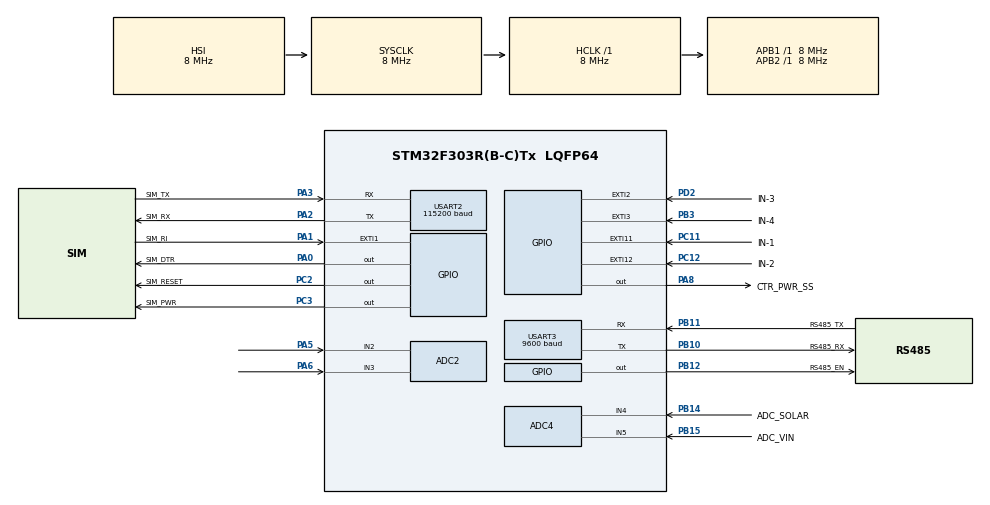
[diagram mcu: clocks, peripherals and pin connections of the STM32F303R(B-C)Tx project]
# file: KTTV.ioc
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Mcu.Family=STM32F3
PA6.Mode=IN3-Single-Ended
RCC.CortexFreq_Value=8000000
ADC2.SamplingTime-1\#ChannelRegularConversion=ADC_SAMPLETIME_601CYCLES_5
PB10.Mode=Asynchronous
ADC2.Channel-0\#ChannelRegularConversion=ADC_CHANNEL_2
PC12.Signal=GPXTI12
PB14.GPIO_Label=ADC_SOLAR
PA0.GPIO_Label=SIM_DTR
VP_RTC_VS_RTC_Activate.Mode=RTC_Enabled
ADC4.OffsetNumber-0\#ChannelRegularConversion=ADC_OFFSET_NONE
PB11.Signal=USART3_RX
PB15.Signal=ADC4_IN5
VP_RTC_VS_RTC_Alarm_A_Intern.Mode=Alarm A
ProjectManager.StackSize=0x400
RTC.Seconds_A-Alarm\ A=10
USART3.VirtualMode-Asynchronous=VM_ASYNC
ADC4.Channel-0\#ChannelRegularConversion=ADC_CHANNEL_4
NVIC.EXTI1_IRQn=true\:0\:0\:false\:false\:true\:true\:true
ADC2.SamplingTimeOPAMP-1\#ChannelRegularConversion=ADC_SAMPLETIME_4CYCLES_5
USART3.BaudRate=9600
ADC2.DMAContinuousRequests=ENABLE
ADC4.ContinuousConvMode=ENABLE
Dma.ADC2.0.Direction=DMA_PERIPH_TO_MEMORY
Dma.ADC2.0.MemInc=DMA_MINC_ENABLE
PC3.Signal=GPIO_Output
ADC4.Offset-1\#ChannelRegularConversion=0
ADC4.DMAContinuousRequests=ENABLE
PA1.GPIO_PuPd=GPIO_NOPULL
RCC.AHBFreq_Value=8000000
Dma.ADC2.0.Priority=DMA_PRIORITY_LOW
NVIC.DMA2_Channel2_IRQn=true\:0\:0\:false\:false\:true\:false\:true
RCC.HSE_VALUE=8000000
USART2.VirtualMode-Asynchronous=VM_ASYNC
RCC.RTCClockSelection=RCC_RTCCLKSOURCE_LSE
RCC.PLLMUL=RCC_PLL_MUL4
PB12.GPIO_Label=RS485_EN
PC14-OSC32_IN.Mode=LSE-External-Oscillator
PA14.Mode=Serial_Wire
ADC4.Rank-0\#ChannelRegularConversion=1
PB14.Mode=IN4-Single-Ended
PC11.GPIO_Label=IN-1
ADC4.SamplingTimeOPAMP-1\#ChannelRegularConversion=ADC_SAMPLETIME_7CYCLES_5
PA8.Signal=GPIO_Output
Dma.ADC4.1.PeriphInc=DMA_PINC_DISABLE
RTC.Hours_A-Alarm\ A=9
PA0.Signal=GPIO_Output
RTC.AlarmMaskDateWeekDay-Alarm\ A=RTC_ALARMMASK_DATEWEEKDAY
Mcu.Package=LQFP64
ADC2.Offset-0\#ChannelRegularConversion=0
PA6.Signal=ADC2_IN3
PA2.GPIO_Label=SIM_RX
ADC2.Channel-1\#ChannelRegularConversion=ADC_CHANNEL_3
VP_RTC_VS_RTC_Calendar.Mode=RTC_Calendar
ADC2.SamplingTime-0\#ChannelRegularConversion=ADC_SAMPLETIME_601CYCLES_5
Dma.ADC2.0.Mode=DMA_CIRCULAR
Dma.ADC2.0.PeriphDataAlignment=DMA_PDATAALIGN_HALFWORD
ADC2.NbrOfConversion=2
Dma.Request1=ADC4
ADC2.Rank-0\#ChannelRegularConversion=1
PF1-OSC_OUT.Mode=HSE-External-Oscillator
Dma.Request0=ADC2
Dma.ADC4.1.Mode=DMA_CIRCULAR
PA1.GPIO_ModeDefaultEXTI=GPIO_MODE_IT_FALLING
PC2.GPIO_Label=SIM_RESET
PF1-OSC_OUT.Signal=RCC_OSC_OUT
Dma.ADC4.1.MemInc=DMA_MINC_ENABLE
PA3.Signal=USART2_RX
PA5.Mode=IN2-Single-Ended
PB3.GPIO_Label=IN-4
PC15-OSC32_OUT.Mode=LSE-External-Oscillator
PC11.Signal=GPXTI11
PC2.Signal=GPIO_Output
PB11.GPIO_Label=RS485_TX
ADC4.SamplingTime-1\#ChannelRegularConversion=ADC_SAMPLETIME_601CYCLES_5
PC14-OSC32_IN.Signal=RCC_OSC32_IN
NVIC.USART2_IRQn=true\:0\:0\:false\:false\:true\:true\:true
USART2.BaudRate=115200
PA3.Mode=Asynchronous
PA13.Signal=SYS_JTMS-SWDIO
PA8.GPIO_Label=CTR_PWR_SS
PB11.Mode=Asynchronous
ADC2.ContinuousConvMode=ENABLE
ProjectManager.TargetToolchain=STM32CubeIDE
PB10.GPIO_Label=RS485_RX
RTC.Year=21
ADC4.Rank-1\#ChannelRegularConversion=2
Dma.ADC2.0.MemDataAlignment=DMA_MDATAALIGN_HALFWORD
Dma.ADC4.1.Instance=DMA2_Channel2
RTC.Format=RTC_FORMAT_BIN
RCC.USBFreq_Value=16000000
ADC4.Offset-0\#ChannelRegularConversion=0
PC15-OSC32_OUT.Signal=RCC_OSC32_OUT
PA1.Signal=GPXTI1
PF0-OSC_IN.Mode=HSE-External-Oscillator
ADC2.OffsetNumber-1\#ChannelRegularConversion=ADC_OFFSET_NONE
PB10.Signal=USART3_TX
PB14.Signal=ADC4_IN4
PA5.Signal=ADC2_IN2
ADC2.OffsetNumber-0\#ChannelRegularConversion=ADC_OFFSET_NONE
board=custom
Dma.ADC4.1.Priority=DMA_PRIORITY_LOW
PB15.Mode=IN5-Single-Ended
Dma.ADC2.0.PeriphInc=DMA_PINC_DISABLE
ADC2.Offset-1\#ChannelRegularConversion=0
RCC.APB2Freq_Value=8000000
ADC4.Channel-1\#ChannelRegularConversion=ADC_CHANNEL_5
ADC4.NbrOfConversionFlag=1
PB15.GPIO_Label=ADC_VIN
PA1.GPIO_Label=SIM_RI
PA13.Mode=Serial_Wire
NVIC.RTC_Alarm_IRQn=true\:0\:0\:false\:false\:true\:true\:true
Mcu.Name=STM32F303R(B-C)Tx
RTC.Alarm-Alarm\ A=RTC_ALARM_A
ADC4.SamplingTime-0\#ChannelRegularConversion=ADC_SAMPLETIME_601CYCLES_5
PA2.Signal=USART2_TX
ADC4.NbrOfConversion=2
Dma.ADC4.1.Direction=DMA_PERIPH_TO_MEMORY
PB3.Signal=GPXTI3
RCC.SYSCLKFreq_VALUE=8000000
RTC.Hours=9
ADC4.OffsetNumber-1\#ChannelRegularConversion=ADC_OFFSET_NONE
ADC2.NbrOfConversionFlag=1
PC12.GPIO_Label=IN-2
PA14.Signal=SYS_JTCK-SWCLK
NVIC.DMA2_Channel1_IRQn=true\:0\:0\:false\:false\:true\:false\:true
ProjectManager.HeapSize=0x200
RCC.HSI_VALUE=8000000
NVIC.PriorityGroup=NVIC_PRIORITYGROUP_4
Dma.ADC4.1.MemDataAlignment=DMA_MDATAALIGN_HALFWORD
Dma.ADC4.1.PeriphDataAlignment=DMA_PDATAALIGN_HALFWORD
ADC2.Rank-1\#ChannelRegularConversion=2
PA2.Mode=Asynchronous
PC3.GPIO_Label=SIM_PWR
PF0-OSC_IN.Signal=RCC_OSC_IN
PD2.Signal=GPXTI2
RCC.APB1Freq_Value=8000000
Dma.ADC2.0.Instance=DMA2_Channel1
RTC.Date=10
PD2.GPIO_Label=IN-3
PB12.Signal=GPIO_Output
PA3.GPIO_Label=SIM_TX

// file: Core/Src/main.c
/* USER CODE BEGIN Header */
/**
  ******************************************************************************
  * @file           : main.c
  * @brief          : Main program body
  ******************************************************************************
  * @attention
  *
  * <h2><center>&copy; Copyright (c) 2021 STMicroelectronics.
  * All rights reserved.</center></h2>
  *
  * This software component is licensed by ST under BSD 3-Clause license,
  * the "License"; You may not use this file except in compliance with the
  * License. You may obtain a copy of the License at:
  *                        opensource.org/licenses/BSD-3-Clause
  *
  ******************************************************************************
  */
/* USER CODE END Header */
#include "main.h"

/* USER CODE BEGIN Includes */
#include "HTTPClient_STM32.h"
#include "FLASH_STM32.h"
#include "RS485.h"
#include "stdbool.h"
/* USER CODE END Includes */

/* USER CODE BEGIN PD */

/* User define */
#define STATION 			30
#define PWRMODE				0
/*FLASH*/
#define MIN_PAGE_ADDR 		0x0800B7F0 //End of page 22
#define MAX_PAGE_ADDR 		0x0800EFF0 //End of page 30
#define MIN_DATA_ADDR		0x0800B000 //Page 22
#define RD_ADDR				0x0800F800 //Page 31
#define WR_ADDR				0x0800F810 //Page 31
#define PG_ADDR				0x0800F820 //Page 31
#define MODE_RTC_ADDR 		0x08010400 //Page 65
/* ADC */
#define VOLPOWER 3.30
#define NSAMPLE 50
//#define CALCULATE_VIN(x)			(VOLREF*x*97)/(4095*22) 		//Vin
#define CALCULATE_VIN(x)			(VOLPOWER*x*57)/(4095*10)		//Vsolar
/* USER CODE END PD */

ADC_HandleTypeDef hadc2;
ADC_HandleTypeDef hadc4;
DMA_HandleTypeDef hdma_adc2;
DMA_HandleTypeDef hdma_adc4;

RTC_HandleTypeDef hrtc;

UART_HandleTypeDef huart2;
UART_HandleTypeDef huart3;

/* USER CODE BEGIN PV */
/*=========SIM===========*/
extern uint8_t Sim_Rxbyte[1];
uint8_t Sim_RSSI = 0;
bool Sim_SleepMode = false;
volatile bool Sim_isRISignal = false;
/*=========SERVER===========*/
extern uint8_t HTTP_DataToGet[MAX_RECVBUF_LEN];
char HTTPServer_URL[500] = {0};
uint8_t configStatus = 0;
char URL1[30]      = "update.php";
char Host1[30]     = "kttvttb.tapit.vn";
char URL2[30]      = "update.php";
char Host2[30]     = "kttvttb.tapit.vn";
char HostConfig[30]     = "kttvttb.tapit.vn";
char URLConfig[30]      = "status.php";
/*=========RTC===========*/
RTC_TimeTypeDef currentTime = {0};
RTC_DateTypeDef currentDate = {0};
RTC_AlarmTypeDef userAlarm = {0};
volatile bool isRTCStartCounting = false;
volatile bool isOnTimeToSendReq = false;
uint8_t RTC_ALARM = 5;
char* Months[] = {"Jan","Feb","Mar","Apr","May","Jun","Jul","Aug","Sep","Oct","Nov","Dec"};
struct timestamp
{
	char timezone[50];
	uint8_t date;
	uint8_t mon;
	uint16_t year;
	uint8_t hour;
	uint8_t min;
	uint8_t sec;
} TimeStamp;

volatile uint16_t rtc_count = 0;
/*========FLASH==========*/
uint32_t WRITE_DATA_ADDR = MIN_DATA_ADDR;
uint32_t READ_DATA_ADDR = MIN_DATA_ADDR;
uint32_t PAGE_ADDR = MAX_PAGE_ADDR;
char Flash_DataToWrite[200] = {0};
char Flash_DataToRead[200] = {0};
char Flash_Host[50],Flash_URL[50],Flash_Data[200] = {0};
uint16_t Flash_WriteDataLen, Flash_ReadDataLen = 0;
bool Flash_isReadData = false;
/*=======SENSOR==========*/
char MainData[200] = {0};
float levelWater = 0;
char sensorStatus[6] = "OK";
volatile uint16_t rainRaw = 0;
float levelArray[6] = {0};
/*=========PWR===========*/
typedef enum
{
  OFF = 0u,
  ON
} Pwr_State;
/*=========ADC===========*/
uint16_t ADC_value[4] = {0};
float Voltage = 0;
uint8_t ADC_Count = 0;
uint16_t ADC_ArrayVal[NSAMPLE] = {0};
float ADC_Avr = 0;
float Sensor_Current = 0;
float Sensor_CalibCurrent = 0;
uint16_t Sensor_ADCval[4] = {0};
uint16_t Sensor_Value[10] = {0};
/* USER CODE END PV */

void SystemClock_Config(void);
static void MX_GPIO_Init(void);
static void MX_DMA_Init(void);
static void MX_USART2_UART_Init(void);
static void MX_USART3_UART_Init(void);
static void MX_RTC_Init(void);
static void MX_ADC2_Init(void);
static void MX_ADC4_Init(void);
/* USER CODE BEGIN PFP */
STATUS Sim_connectHTTP(char* host, char* url, char* sentdata, char* recvdata);
void Sim_extractTimeStamp(char* data);
void Sim_getHostnUrl(char* data);
void Sim_enterSLEEPMode(void);
void Sim_exitSLEEPMode(void);
void Sim_resetSIM(void);
void Sim_restartControl(void);
void Sim_sendMess(char* phonenumber, char* content);
bool RTC_initAlarm(uint8_t hours, uint8_t minutes, uint8_t seconds);
void RTC_updateUserTime(void);
void RTC_updateUserDate(RTC_DateTypeDef* datetime);
bool RTC_isLeapYear(uint16_t y);
void Flash_init(void);
void Flash_writeData(const char* host, const char* url, const char* data);
void Flash_extractData(char* data);
float RS485_readUltrasonicSensor(uint8_t Modbus_Addr);
float RS485_readLiquidLevelTransmitter(uint8_t Modbus_Addr);
void PWR_ctrlPwrSensor(Pwr_State status);
void PWR_getPwrSupply(uint8_t channel);
void insertionSort(uint16_t arr[], int n) ;
void insertionSort_2(float arr[], int n);
float Sensor_getADCValue(uint8_t channel);
float ADC_map(float x, float in_min, float in_max, float out_min, float out_max);
/* USER CODE END PFP */

/* USER CODE BEGIN 0 */
void HAL_GPIO_EXTI_Callback(uint16_t GPIO_Pin)
{
	for(uint32_t i = 0; i < 100000; i++);
	if(GPIO_Pin == SIM_RI_Pin)
	{
		Sim_isRISignal = true;
	}
	if(GPIO_Pin == IN_1_Pin)
	{
		rainRaw++;
		long j = 0;
		while((HAL_GPIO_ReadPin(IN_1_GPIO_Port,IN_1_Pin) == GPIO_PIN_SET) && (j < 1000000)){j++;};
	}
//	if(GPIO_Pin == IN_2_Pin)
//	{
//		while(HAL_GPIO_ReadPin(IN_2_GPIO_Port, IN_2_Pin) == GPIO_PIN_SET);
//		IN2_cnt++;
//	}
//	if(GPIO_Pin == IN_3_Pin)
//	{
//		while(HAL_GPIO_ReadPin(IN_3_GPIO_Port, IN_3_Pin) == GPIO_PIN_SET);
//		IN3_cnt++;
//	}
//	if(GPIO_Pin == IN_4_Pin)
//	{
//		while(HAL_GPIO_ReadPin(IN_4_GPIO_Port, IN_4_Pin) == GPIO_PIN_SET);
//		IN4_cnt++;
//	}
	for(uint32_t i = 0; i < 100000; i++);
	EXTI->PR |= GPIO_Pin;
}

void HAL_RTC_AlarmAEventCallback(RTC_HandleTypeDef *hrtc)
{
	isOnTimeToSendReq = true;
	//Thuc hien lay thoi gian hien tai cua RTC
	HAL_RTC_GetTime(hrtc, &currentTime, RTC_FORMAT_BIN);
	HAL_RTC_GetDate(hrtc, &currentDate, RTC_FORMAT_BIN);
	rtc_count++;
	if((userAlarm.AlarmTime.Hours == 0) && (userAlarm.AlarmTime.Minutes == 0))
	{
		isRTCStartCounting = true;
	}
	//Thuc hien cai dat thoi gian Alarm
	RTC_initAlarm(currentTime.Hours, currentTime.Minutes, 0);
	HAL_RTC_SetAlarm_IT(hrtc, &userAlarm, RTC_FORMAT_BIN);
}
/* USER CODE END 0 */

int main(void)
{

  /* MCU Configuration--------------------------------------------------------*/

  /* Reset of all peripherals, Initializes the Flash interface and the Systick. */
  HAL_Init();

  /* Configure the system clock */
  SystemClock_Config();

  /* Initialize all configured peripherals */
  MX_GPIO_Init();
  MX_DMA_Init();
  MX_USART2_UART_Init();
  MX_USART3_UART_Init();
  MX_RTC_Init();
  MX_ADC2_Init();
  MX_ADC4_Init();
  /* USER CODE BEGIN 2 */
	#if (PWRMODE == 1)
	PWR_ctrlPwrSensor(ON);
	#endif
	HAL_ADCEx_Calibration_Start(&hadc2, ADC_SINGLE_ENDED);
	HAL_ADCEx_Calibration_Start(&hadc4, ADC_SINGLE_ENDED);
  	HAL_Delay(1000);
  	Flash_init();
  	HAL_UART_Receive_IT(&SIM_UART, Sim_Rxbyte, 1);
    Sim_resetSIM();
    /* First Connection */
	char StationStart[25]  = {0};
	char StationConfig[25] = {0};
	sprintf(StationStart,"station=%d&status=%s",STATION,"START");
	sprintf(StationConfig,"station=%d&status=%s",STATION,"CONFIG");
	Sim_exitSLEEPMode();
	Sim_checkOK();
	HAL_Delay(3000);
    if(Sim_checkOK() == RET_OK)
    {
		Sim_RSSI = Sim_getSignalQuality();
		if(Sim_RSSI != 99) //99 <=> error
		{
			if(Sim_initSMS() == RET_OK)
			{
				if(HTTP_configParams() == RET_OK)
				{
					__NOP();
					Sim_connectHTTP(HostConfig, URLConfig, StationStart, (char*)HTTP_DataToGet);
				}
			}
		}
    }
    __NOP();
    Sim_enterSLEEPMode();
    Sim_isRISignal = false; //After reset, RISignal will raise
	#if (PWRMODE == 0)
	PWR_ctrlPwrSensor(OFF);
	#endif
  /* USER CODE END 2 */

  /* Infinite loop */
  /* USER CODE BEGIN WHILE */
  while (1)
  {
	  if(Sim_isRISignal == true)
	  {
		  Sim_restartControl();
		  Sim_isRISignal = false;
	  }

	  if(configStatus == 1)
	  {
		  Sim_connectHTTP(HostConfig, URLConfig, StationConfig, (char*)HTTP_DataToGet);
		  configStatus = 0;
	  }

	  if(isRTCStartCounting)
	  {
		  HAL_RTC_GetTime(&hrtc, &currentTime, RTC_FORMAT_BIN);
		  HAL_RTC_GetDate(&hrtc, &currentDate, RTC_FORMAT_BIN);
		  if((currentTime.Hours == 0)&&(currentTime.Minutes > 4))
		  {
			  NVIC_SystemReset();
		  }
	  }

	  if(isOnTimeToSendReq)
	  {
		  #if (PWRMODE == 0)
		  PWR_ctrlPwrSensor(ON);
		  #endif
		  Sim_exitSLEEPMode();
		  //Kiem tra tin hieu Sim
		  Sim_RSSI = Sim_getSignalQuality();
		  //Doc dien ap
		  PWR_getPwrSupply(0);
		  HAL_Delay(10000);
		  HAL_Delay(10000);
		  //Doc du lieu cam bien
		  /*-------RS485-------*/
		  float rs485_arr[5] = {0};
		  for(uint8_t i = 0; i < 5; i++)
		  {
		  	rs485_arr[i] = RS485_readLiquidLevelTransmitter(0x01);
		  }
		  insertionSort_2(rs485_arr,5);
		  if(rs485_arr[4] == -32767)
		  {
			  levelWater = 0;
			  //bao trang thai cam bien
			  memset(sensorStatus,0,strlen(sensorStatus));
			  strcpy(sensorStatus,"ERROR");
		  }
		  else
		  {
			  levelWater = rs485_arr[2];
			  if(levelWater < 0 || levelWater > 10) levelWater = 0;
			  memset(sensorStatus,0,strlen(sensorStatus));
			  strcpy(sensorStatus,"OK");
		  }
		  /*-------420mA-------*/
		  float adc_arr[5] = {0};
		  for(uint8_t i = 0; i < 5; i++)
		  {
			  adc_arr[i] = Sensor_getADCValue(2);
		  }
		  insertionSort_2(adc_arr,5);
		  Sensor_CalibCurrent = adc_arr[2];
		  if((Sensor_CalibCurrent > 3.9) && (Sensor_CalibCurrent < 4.01))
		  {
		  	Sensor_CalibCurrent = 4.00;
		  }
		  else if((Sensor_CalibCurrent > 20.01) && (Sensor_CalibCurrent < 21))
		  {
		  	Sensor_CalibCurrent = 20.00;
		  }
		  levelWater = ADC_map(Sensor_CalibCurrent, 4.00, 20.00, 0.0, 15); //donvi: met
		  if((levelWater < 0.0) || (levelWater > 16.0))
		  {
			  levelWater = 0;
			  memset(sensorStatus,0,strlen(sensorStatus));
			  strcpy(sensorStatus,"ERROR");
		  }
		  else
		  {
			  memset(sensorStatus,0,strlen(sensorStatus));
			  strcpy(sensorStatus,"OK");
		  }
		  //Tong hop du lieu
		  sprintf(MainData,"vol=%.1f&sttcode=%s&rssi=%02d&station=%d"
							"&level=%.2f&rainraw=%d&timestamp=%02d%02d%02d%02d%02d",
							Voltage,sensorStatus,Sim_RSSI,STATION,levelWater,rainRaw,
							currentDate.Date,currentDate.Month,currentDate.Year,
							currentTime.Hours,currentTime.Minutes);
		  //Reset du lieu
		  rainRaw = 0;
		  #if (PWRMODE == 0)
		  PWR_ctrlPwrSensor(OFF);
		  #endif
		  //Gui du lieu len Server
		  ret = Sim_connectHTTP(Host1, URL1, MainData, (char*)HTTP_DataToGet);
		  if(ret != RET_OK)
		  {
			  Flash_writeData(Host1, NULL, MainData);
			  Flash_isReadData = false;
		  }
		  else
		  {
			  Flash_isReadData = true;
		  }
		  //Reset du lieu
		  memset(MainData,0,strlen(MainData));
		  Sim_enterSLEEPMode();
		  isOnTimeToSendReq = false;
	  }
	  else
	  {
		  if(Flash_isReadData == true)
		  {
			  if(READ_DATA_ADDR != WRITE_DATA_ADDR)
			  {
				  memset(Flash_DataToRead, 0, strlen(Flash_DataToRead));
				  READ_DATA_ADDR = Flash_ReadIntType(RD_ADDR);
				  WRITE_DATA_ADDR = Flash_ReadIntType(WR_ADDR);
				  PAGE_ADDR = Flash_ReadIntType(PG_ADDR);
				  Flash_ReadCharType(Flash_DataToRead, READ_DATA_ADDR, FLASH_TYPEPROGRAM_HALFWORD);
				  Flash_ReadDataLen = strlen(Flash_DataToRead);
				  if(Flash_ReadDataLen != 0)
				  {
					  Flash_extractData(Flash_DataToRead);
				  }
				  ret = Sim_connectHTTP(Flash_Host, Flash_URL, Flash_Data, (char*)HTTP_DataToGet);
				  if(ret == RET_OK)
				  {
					  READ_DATA_ADDR += Flash_ReadDataLen*2+2;
					  if(READ_DATA_ADDR == MAX_PAGE_ADDR)
					  {
						  READ_DATA_ADDR = MIN_DATA_ADDR;
					  }
					  Flash_Unlock();
					  Flash_Erase(RD_ADDR);
					  Flash_WriteIntType(RD_ADDR, READ_DATA_ADDR,FLASH_TYPEPROGRAM_WORD);
					  Flash_WriteIntType(WR_ADDR, WRITE_DATA_ADDR,FLASH_TYPEPROGRAM_WORD);
					  Flash_WriteIntType(PG_ADDR,PAGE_ADDR,FLASH_TYPEPROGRAM_WORD);
					  Flash_Lock();
				  }
				  else //gui that bai -> khong cho phep doc bo nho Flash
				  {
					  Flash_isReadData = false;
				  }
			  }
			  else //gui het du lieu Flash -> dua ve Sleepmode
			  {
				  if(Sim_SleepMode == false)
				  {
					  Sim_enterSLEEPMode();
				  }
			  }
		  }
		  else //khong cho phep doc du lieu Flash -> dua ve Sleepmode
		  {
			  if(Sim_SleepMode == false)
			  {
				  Sim_enterSLEEPMode();
			  }
		  }
	  }

    /* USER CODE END WHILE */

  }
}

void SystemClock_Config(void)
{
  RCC_OscInitTypeDef RCC_OscInitStruct = {0};
  RCC_ClkInitTypeDef RCC_ClkInitStruct = {0};
  RCC_PeriphCLKInitTypeDef PeriphClkInit = {0};

  /** Configure LSE Drive Capability
  */
  HAL_PWR_EnableBkUpAccess();
  __HAL_RCC_LSEDRIVE_CONFIG(RCC_LSEDRIVE_LOW);
  /** Initializes the RCC Oscillators according to the specified parameters
  * in the RCC_OscInitTypeDef structure.
  */
  RCC_OscInitStruct.OscillatorType = RCC_OSCILLATORTYPE_HSI|RCC_OSCILLATORTYPE_LSE;
  RCC_OscInitStruct.LSEState = RCC_LSE_ON;
  RCC_OscInitStruct.HSIState = RCC_HSI_ON;
  RCC_OscInitStruct.HSICalibrationValue = RCC_HSICALIBRATION_DEFAULT;
  RCC_OscInitStruct.PLL.PLLState = RCC_PLL_ON;
  RCC_OscInitStruct.PLL.PLLSource = RCC_PLLSOURCE_HSI;
  RCC_OscInitStruct.PLL.PLLMUL = RCC_PLL_MUL4;
  if (HAL_RCC_OscConfig(&RCC_OscInitStruct) != HAL_OK)
  {
    Error_Handler();
  }
  /** Initializes the CPU, AHB and APB buses clocks
  */
  RCC_ClkInitStruct.ClockType = RCC_CLOCKTYPE_HCLK|RCC_CLOCKTYPE_SYSCLK
                              |RCC_CLOCKTYPE_PCLK1|RCC_CLOCKTYPE_PCLK2;
  RCC_ClkInitStruct.SYSCLKSource = RCC_SYSCLKSOURCE_HSI;
  RCC_ClkInitStruct.AHBCLKDivider = RCC_SYSCLK_DIV1;
  RCC_ClkInitStruct.APB1CLKDivider = RCC_HCLK_DIV1;
  RCC_ClkInitStruct.APB2CLKDivider = RCC_HCLK_DIV1;

  if (HAL_RCC_ClockConfig(&RCC_ClkInitStruct, FLASH_LATENCY_0) != HAL_OK)
  {
    Error_Handler();
  }
  PeriphClkInit.PeriphClockSelection = RCC_PERIPHCLK_USART2|RCC_PERIPHCLK_USART3
                              |RCC_PERIPHCLK_RTC|RCC_PERIPHCLK_ADC12
                              |RCC_PERIPHCLK_ADC34;
  PeriphClkInit.Usart2ClockSelection = RCC_USART2CLKSOURCE_PCLK1;
  PeriphClkInit.Usart3ClockSelection = RCC_USART3CLKSOURCE_PCLK1;
  PeriphClkInit.Adc12ClockSelection = RCC_ADC12PLLCLK_DIV1;
  PeriphClkInit.Adc34ClockSelection = RCC_ADC34PLLCLK_DIV1;
  PeriphClkInit.RTCClockSelection = RCC_RTCCLKSOURCE_LSE;
  if (HAL_RCCEx_PeriphCLKConfig(&PeriphClkInit) != HAL_OK)
  {
    Error_Handler();
  }
}

static void MX_ADC2_Init(void)
{

  ADC_ChannelConfTypeDef sConfig = {0};

  /** Common config
  */
  hadc2.Instance = ADC2;
  hadc2.Init.ClockPrescaler = ADC_CLOCK_ASYNC_DIV1;
  hadc2.Init.Resolution = ADC_RESOLUTION_12B;
  hadc2.Init.ScanConvMode = ADC_SCAN_ENABLE;
  hadc2.Init.ContinuousConvMode = ENABLE;
  hadc2.Init.DiscontinuousConvMode = DISABLE;
  hadc2.Init.ExternalTrigConvEdge = ADC_EXTERNALTRIGCONVEDGE_NONE;
  hadc2.Init.ExternalTrigConv = ADC_SOFTWARE_START;
  hadc2.Init.DataAlign = ADC_DATAALIGN_RIGHT;
  hadc2.Init.NbrOfConversion = 2;
  hadc2.Init.DMAContinuousRequests = ENABLE;
  hadc2.Init.EOCSelection = ADC_EOC_SINGLE_CONV;
  hadc2.Init.LowPowerAutoWait = DISABLE;
  hadc2.Init.Overrun = ADC_OVR_DATA_OVERWRITTEN;
  if (HAL_ADC_Init(&hadc2) != HAL_OK)
  {
    Error_Handler();
  }
  /** Configure Regular Channel
  */
  sConfig.Channel = ADC_CHANNEL_2;
  sConfig.Rank = ADC_REGULAR_RANK_1;
  sConfig.SingleDiff = ADC_SINGLE_ENDED;
  sConfig.SamplingTime = ADC_SAMPLETIME_601CYCLES_5;
  sConfig.OffsetNumber = ADC_OFFSET_NONE;
  sConfig.Offset = 0;
  if (HAL_ADC_ConfigChannel(&hadc2, &sConfig) != HAL_OK)
  {
    Error_Handler();
  }
  /** Configure Regular Channel
  */
  sConfig.Channel = ADC_CHANNEL_3;
  sConfig.Rank = ADC_REGULAR_RANK_2;
  if (HAL_ADC_ConfigChannel(&hadc2, &sConfig) != HAL_OK)
  {
    Error_Handler();
  }

}

static void MX_ADC4_Init(void)
{

  ADC_ChannelConfTypeDef sConfig = {0};

  /** Common config
  */
  hadc4.Instance = ADC4;
  hadc4.Init.ClockPrescaler = ADC_CLOCK_ASYNC_DIV1;
  hadc4.Init.Resolution = ADC_RESOLUTION_12B;
  hadc4.Init.ScanConvMode = ADC_SCAN_ENABLE;
  hadc4.Init.ContinuousConvMode = ENABLE;
  hadc4.Init.DiscontinuousConvMode = DISABLE;
  hadc4.Init.ExternalTrigConvEdge = ADC_EXTERNALTRIGCONVEDGE_NONE;
  hadc4.Init.ExternalTrigConv = ADC_SOFTWARE_START;
  hadc4.Init.DataAlign = ADC_DATAALIGN_RIGHT;
  hadc4.Init.NbrOfConversion = 2;
  hadc4.Init.DMAContinuousRequests = ENABLE;
  hadc4.Init.EOCSelection = ADC_EOC_SINGLE_CONV;
  hadc4.Init.LowPowerAutoWait = DISABLE;
  hadc4.Init.Overrun = ADC_OVR_DATA_OVERWRITTEN;
  if (HAL_ADC_Init(&hadc4) != HAL_OK)
  {
    Error_Handler();
  }
  /** Configure Regular Channel
  */
  sConfig.Channel = ADC_CHANNEL_4;
  sConfig.Rank = ADC_REGULAR_RANK_1;
  sConfig.SingleDiff = ADC_SINGLE_ENDED;
  sConfig.SamplingTime = ADC_SAMPLETIME_601CYCLES_5;
  sConfig.OffsetNumber = ADC_OFFSET_NONE;
  sConfig.Offset = 0;
  if (HAL_ADC_ConfigChannel(&hadc4, &sConfig) != HAL_OK)
  {
    Error_Handler();
  }
  /** Configure Regular Channel
  */
  sConfig.Channel = ADC_CHANNEL_5;
  sConfig.Rank = ADC_REGULAR_RANK_2;
  if (HAL_ADC_ConfigChannel(&hadc4, &sConfig) != HAL_OK)
  {
    Error_Handler();
  }

}

static void MX_RTC_Init(void)
{

  RTC_TimeTypeDef sTime = {0};
  RTC_DateTypeDef sDate = {0};
  RTC_AlarmTypeDef sAlarm = {0};

  /** Initialize RTC Only
  */
  hrtc.Instance = RTC;
  hrtc.Init.HourFormat = RTC_HOURFORMAT_24;
  hrtc.Init.AsynchPrediv = 127;
  hrtc.Init.SynchPrediv = 255;
  hrtc.Init.OutPut = RTC_OUTPUT_DISABLE;
  hrtc.Init.OutPutPolarity = RTC_OUTPUT_POLARITY_HIGH;
  hrtc.Init.OutPutType = RTC_OUTPUT_TYPE_OPENDRAIN;
  if (HAL_RTC_Init(&hrtc) != HAL_OK)
  {
    Error_Handler();
  }

  /* USER CODE BEGIN Check_RTC_BKUP */
  if(HAL_RTCEx_BKUPRead(&hrtc, RTC_BKP_DR1) != 0x32F5)
  {
  /* USER CODE END Check_RTC_BKUP */

  /** Initialize RTC and set the Time and Date
  */
  sTime.Hours = 9;
  sTime.Minutes = 0;
  sTime.Seconds = 0;
  sTime.DayLightSaving = RTC_DAYLIGHTSAVING_NONE;
  sTime.StoreOperation = RTC_STOREOPERATION_RESET;
  if (HAL_RTC_SetTime(&hrtc, &sTime, RTC_FORMAT_BIN) != HAL_OK)
  {
    Error_Handler();
  }
  sDate.WeekDay = RTC_WEEKDAY_MONDAY;
  sDate.Month = RTC_MONTH_JANUARY;
  sDate.Date = 10;
  sDate.Year = 21;

  if (HAL_RTC_SetDate(&hrtc, &sDate, RTC_FORMAT_BIN) != HAL_OK)
  {
    Error_Handler();
  }
  /** Enable the Alarm A
  */
  sAlarm.AlarmTime.Hours = 9;
  sAlarm.AlarmTime.Minutes = 0;
  sAlarm.AlarmTime.Seconds = 10;
  sAlarm.AlarmTime.SubSeconds = 0;
  sAlarm.AlarmTime.DayLightSaving = RTC_DAYLIGHTSAVING_NONE;
  sAlarm.AlarmTime.StoreOperation = RTC_STOREOPERATION_RESET;
  sAlarm.AlarmMask = RTC_ALARMMASK_DATEWEEKDAY;
  sAlarm.AlarmSubSecondMask = RTC_ALARMSUBSECONDMASK_ALL;
  sAlarm.AlarmDateWeekDaySel = RTC_ALARMDATEWEEKDAYSEL_DATE;
  sAlarm.AlarmDateWeekDay = 1;
  sAlarm.Alarm = RTC_ALARM_A;
  if (HAL_RTC_SetAlarm_IT(&hrtc, &sAlarm, RTC_FORMAT_BIN) != HAL_OK)
  {
    Error_Handler();
  }
  /* USER CODE BEGIN RTC_Init 2 */
  //Khoi tao cac gia tri ban dau cho cac bien
  userAlarm = sAlarm;
  currentTime = sTime;
  currentDate = sDate;
  HAL_RTCEx_BKUPWrite(&hrtc, RTC_BKP_DR1, 0x32F5);
  }
  else
  {
	  HAL_RTC_GetTime(&hrtc, &currentTime, RTC_FORMAT_BIN);
	  HAL_RTC_GetDate(&hrtc, &currentDate, RTC_FORMAT_BIN);
	  /**Enable the Alarm A */
	  userAlarm.AlarmTime.Hours = currentTime.Hours;
	  userAlarm.AlarmTime.Minutes = currentTime.Minutes;
	  userAlarm.AlarmTime.Seconds = 0;
	  userAlarm.AlarmTime.SubSeconds = 0;
	  userAlarm.AlarmTime.DayLightSaving = RTC_DAYLIGHTSAVING_NONE;
	  userAlarm.AlarmTime.StoreOperation = RTC_STOREOPERATION_RESET;
	  userAlarm.AlarmMask = RTC_ALARMMASK_DATEWEEKDAY;
	  userAlarm.AlarmSubSecondMask = RTC_ALARMSUBSECONDMASK_ALL;
	  userAlarm.AlarmDateWeekDaySel = RTC_ALARMDATEWEEKDAYSEL_DATE;
	  userAlarm.AlarmDateWeekDay = 1;
	  userAlarm.Alarm = RTC_ALARM_A;
	  RTC_initAlarm(userAlarm.AlarmTime.Hours,userAlarm.AlarmTime.Minutes,0);
  }
  /* USER CODE END RTC_Init 2 */

}

static void MX_USART2_UART_Init(void)
{

  huart2.Instance = USART2;
  huart2.Init.BaudRate = 115200;
  huart2.Init.WordLength = UART_WORDLENGTH_8B;
  huart2.Init.StopBits = UART_STOPBITS_1;
  huart2.Init.Parity = UART_PARITY_NONE;
  huart2.Init.Mode = UART_MODE_TX_RX;
  huart2.Init.HwFlowCtl = UART_HWCONTROL_NONE;
  huart2.Init.OverSampling = UART_OVERSAMPLING_16;
  huart2.Init.OneBitSampling = UART_ONE_BIT_SAMPLE_DISABLE;
  huart2.AdvancedInit.AdvFeatureInit = UART_ADVFEATURE_NO_INIT;
  if (HAL_UART_Init(&huart2) != HAL_OK)
  {
    Error_Handler();
  }

}

static void MX_USART3_UART_Init(void)
{

  huart3.Instance = USART3;
  huart3.Init.BaudRate = 9600;
  huart3.Init.WordLength = UART_WORDLENGTH_8B;
  huart3.Init.StopBits = UART_STOPBITS_1;
  huart3.Init.Parity = UART_PARITY_NONE;
  huart3.Init.Mode = UART_MODE_TX_RX;
  huart3.Init.HwFlowCtl = UART_HWCONTROL_NONE;
  huart3.Init.OverSampling = UART_OVERSAMPLING_16;
  huart3.Init.OneBitSampling = UART_ONE_BIT_SAMPLE_DISABLE;
  huart3.AdvancedInit.AdvFeatureInit = UART_ADVFEATURE_NO_INIT;
  if (HAL_UART_Init(&huart3) != HAL_OK)
  {
    Error_Handler();
  }

}

static void MX_DMA_Init(void)
{

  /* DMA controller clock enable */
  __HAL_RCC_DMA2_CLK_ENABLE();

  /* DMA interrupt init */
  /* DMA2_Channel1_IRQn interrupt configuration */
  HAL_NVIC_SetPriority(DMA2_Channel1_IRQn, 0, 0);
  HAL_NVIC_EnableIRQ(DMA2_Channel1_IRQn);
  /* DMA2_Channel2_IRQn interrupt configuration */
  HAL_NVIC_SetPriority(DMA2_Channel2_IRQn, 0, 0);
  HAL_NVIC_EnableIRQ(DMA2_Channel2_IRQn);

}

static void MX_GPIO_Init(void)
{
  GPIO_InitTypeDef GPIO_InitStruct = {0};

  /* GPIO Ports Clock Enable */
  __HAL_RCC_GPIOC_CLK_ENABLE();
  __HAL_RCC_GPIOF_CLK_ENABLE();
  __HAL_RCC_GPIOA_CLK_ENABLE();
  __HAL_RCC_GPIOB_CLK_ENABLE();
  __HAL_RCC_GPIOD_CLK_ENABLE();

  /*Configure GPIO pin Output Level */
  HAL_GPIO_WritePin(GPIOC, SIM_RESET_Pin|SIM_PWR_Pin, GPIO_PIN_RESET);

  /*Configure GPIO pin Output Level */
  HAL_GPIO_WritePin(GPIOA, SIM_DTR_Pin|CTR_PWR_SS_Pin, GPIO_PIN_RESET);

  /*Configure GPIO pin Output Level */
  HAL_GPIO_WritePin(RS485_EN_GPIO_Port, RS485_EN_Pin, GPIO_PIN_RESET);

  /*Configure GPIO pins : SIM_RESET_Pin SIM_PWR_Pin */
  GPIO_InitStruct.Pin = SIM_RESET_Pin|SIM_PWR_Pin;
  GPIO_InitStruct.Mode = GPIO_MODE_OUTPUT_PP;
  GPIO_InitStruct.Pull = GPIO_NOPULL;
  GPIO_InitStruct.Speed = GPIO_SPEED_FREQ_LOW;
  HAL_GPIO_Init(GPIOC, &GPIO_InitStruct);

  /*Configure GPIO pins : SIM_DTR_Pin CTR_PWR_SS_Pin */
  GPIO_InitStruct.Pin = SIM_DTR_Pin|CTR_PWR_SS_Pin;
  GPIO_InitStruct.Mode = GPIO_MODE_OUTPUT_PP;
  GPIO_InitStruct.Pull = GPIO_NOPULL;
  GPIO_InitStruct.Speed = GPIO_SPEED_FREQ_LOW;
  HAL_GPIO_Init(GPIOA, &GPIO_InitStruct);

  /*Configure GPIO pin : SIM_RI_Pin */
  GPIO_InitStruct.Pin = SIM_RI_Pin;
  GPIO_InitStruct.Mode = GPIO_MODE_IT_FALLING;
  GPIO_InitStruct.Pull = GPIO_NOPULL;
  HAL_GPIO_Init(SIM_RI_GPIO_Port, &GPIO_InitStruct);

  /*Configure GPIO pin : RS485_EN_Pin */
  GPIO_InitStruct.Pin = RS485_EN_Pin;
  GPIO_InitStruct.Mode = GPIO_MODE_OUTPUT_PP;
  GPIO_InitStruct.Pull = GPIO_NOPULL;
  GPIO_InitStruct.Speed = GPIO_SPEED_FREQ_LOW;
  HAL_GPIO_Init(RS485_EN_GPIO_Port, &GPIO_InitStruct);

  /*Configure GPIO pins : IN_1_Pin IN_2_Pin */
  GPIO_InitStruct.Pin = IN_1_Pin|IN_2_Pin;
  GPIO_InitStruct.Mode = GPIO_MODE_IT_RISING;
  GPIO_InitStruct.Pull = GPIO_NOPULL;
  HAL_GPIO_Init(GPIOC, &GPIO_InitStruct);

  /*Configure GPIO pin : IN_3_Pin */
  GPIO_InitStruct.Pin = IN_3_Pin;
  GPIO_InitStruct.Mode = GPIO_MODE_IT_RISING;
  GPIO_InitStruct.Pull = GPIO_NOPULL;
  HAL_GPIO_Init(IN_3_GPIO_Port, &GPIO_InitStruct);

  /*Configure GPIO pin : IN_4_Pin */
  GPIO_InitStruct.Pin = IN_4_Pin;
  GPIO_InitStruct.Mode = GPIO_MODE_IT_RISING;
  GPIO_InitStruct.Pull = GPIO_NOPULL;
  HAL_GPIO_Init(IN_4_GPIO_Port, &GPIO_InitStruct);

  /* EXTI interrupt init*/
  HAL_NVIC_SetPriority(EXTI1_IRQn, 0, 0);
  HAL_NVIC_EnableIRQ(EXTI1_IRQn);

}

/* USER CODE BEGIN 4 */
STATUS Sim_connectHTTP(char* host, char* url, char* sentdata, char* recvdata)
{
	Sim_exitSLEEPMode();
	deleteBuffer(HTTPServer_URL, strlen(HTTPServer_URL));
	sprintf(HTTPServer_URL,"http://%s/%s?%s",host,url,sentdata);
	STATUS m_ret = RET_FAIL;
	for(uint8_t i = 0; i < 3; i++)
	{
		if(HTTP_sendGETRequest(HTTPServer_URL) == RET_OK)
		{
			__NOP();
			if(HTTP_readGETResponse(recvdata) == RET_OK)
			{
				__NOP();
				if(strstr(recvdata,"200 OK") != NULL)
				{
					Sim_extractTimeStamp(recvdata);
					if(strstr(recvdata,"||CC") != NULL)
					{
						Sim_getHostnUrl(recvdata);
						m_ret = RET_OK;
					}
					else if(strstr(recvdata,"||00") != NULL)
					{
						configStatus = 1;
						m_ret = RET_OK;
					}
					else if(strstr(recvdata,"||11") != NULL)
					{
						char* tok = NULL;
						tok = strtok(recvdata,"|");
						tok = strtok(NULL,"<");
						int8_t rtc_alarm = atoi(tok);
						if((rtc_alarm >= 0) && (rtc_alarm <= 60))
						{
							if((rtc_alarm % 5) == 0)
							{
								if(rtc_alarm != RTC_ALARM)
								{
									RTC_ALARM = rtc_alarm;
									Flash_WriteIntType(MODE_RTC_ADDR, RTC_ALARM, FLASH_TYPEPROGRAM_HALFWORD);
									HAL_RTC_GetTime(&hrtc, &currentTime, RTC_FORMAT_BIN);
									HAL_RTC_GetDate(&hrtc, &currentDate, RTC_FORMAT_BIN);
									RTC_initAlarm(currentTime.Hours, currentTime.Minutes, 0);
								}
							}
						}
						m_ret = RET_OK;
					}
				}
			}
		}
		Sim_disconnectInternet();
		if(m_ret == RET_OK)
		{
			break;
		}
		else
		{
			HAL_Delay(2000);
		}
	}
	return m_ret;
}

void Sim_extractTimeStamp(char* data)
{
	int i = 0;
	char* ptr1 = strstr(data,"Date:");
	char* ptr2 = strstr(data," GMT");
	if((ptr1 != NULL) & (ptr2 != NULL))
	{
		while(ptr1 != ptr2)
		{
			TimeStamp.timezone[i++] = *ptr1;
			ptr1++;
		}
		char* tok = strtok(TimeStamp.timezone," ");
		tok = strtok(NULL," ");
		tok = strtok(NULL," ");
		TimeStamp.date = atoi(tok);
		tok = strtok(NULL," ");
		for(int i = 0; i < 12; i++)
		{
			if(strstr(tok,Months[i]) != NULL)
			{
				TimeStamp.mon = i + 1;
				break;
			}
		}
		tok = strtok(NULL," ");
		TimeStamp.year = atoi(tok);
		tok = strtok(NULL,":");
		TimeStamp.hour = atoi(tok);
		tok = strtok(NULL,":");
		TimeStamp.min = atoi(tok);
		tok = strtok(NULL,":");
		TimeStamp.sec = atoi(tok);
		//update RTC Time
		RTC_updateUserTime();
	}
}

void Sim_getHostnUrl(char* data)
{
	memset(Host1,0,strlen(Host1));
	memset(Host2,0,strlen(Host2));
	memset(URL1,0,strlen(URL1));
	memset(URL2,0,strlen(URL2));
	char* token;
	token = strtok(data,"|");
	token = strtok(NULL,":");
	strcpy(Host1,token);
	token = strtok(NULL,"/");
	token = strtok(NULL,"<");
	strcpy(URL1,token);
	token = strtok(NULL,"|");
	token = strtok(NULL,":");
	strcpy(Host2,token);
	token = strtok(NULL,"/");
	token = strtok(NULL,"<");
	strcpy(URL2,token);
}

void Sim_enterSLEEPMode(void)
{
	STATUS m_ret;
	for(uint8_t i = 0; i < 2; i++)
	{
		Sim_send("AT+CSCLK=1\r", strlen("AT+CSCLK=1\r"));
		m_ret = Sim_checkResponseWith("OK", 2, 5000);
		__NOP();
		if(m_ret == RET_OK)
		{
			//DTR high
			HAL_GPIO_WritePin(SIM_DTR_GPIO_Port, SIM_DTR_Pin, GPIO_PIN_SET);
			HAL_Delay(1000);
			break;
		}
	}
	if(Sim_checkOK() == RET_FAIL)
	{
		Sim_SleepMode = true;
	}
	else
	{
		Sim_SleepMode = false;
	}
}

void Sim_exitSLEEPMode(void)
{
	Sim_SleepMode = true; //Sim van con o che do sleep mode
	//DTR low
	HAL_GPIO_WritePin(SIM_DTR_GPIO_Port, SIM_DTR_Pin, GPIO_PIN_RESET);
	HAL_Delay(1000);
	if(Sim_checkOK() == RET_OK)
	{
		Sim_SleepMode = false;
	}
}

void Sim_resetSIM(void)
{
	//DTR high
	HAL_GPIO_WritePin(SIM_DTR_GPIO_Port, SIM_DTR_Pin, GPIO_PIN_SET);
	HAL_Delay(100);
	//DTR low
	HAL_GPIO_WritePin(SIM_DTR_GPIO_Port, SIM_DTR_Pin, GPIO_PIN_RESET);
	HAL_Delay(1000);
	if(Sim_checkOK() == RET_OK) //SIM response
	{
		/*turn off*/
		//pull down PWRKEY
		HAL_GPIO_WritePin(SIM_PWR_GPIO_Port, SIM_PWR_Pin, GPIO_PIN_SET);
		//wait at least 2.5s
		HAL_Delay(3000);
		//release PWRKEY
		HAL_GPIO_WritePin(SIM_PWR_GPIO_Port, SIM_PWR_Pin, GPIO_PIN_RESET);
		HAL_Delay(5000);
		HAL_Delay(5000);
		/* turn on power*/
		//pull down PWRKEY
		HAL_GPIO_WritePin(SIM_PWR_GPIO_Port, SIM_PWR_Pin, GPIO_PIN_SET);
		//wait at least 0.5s
		HAL_Delay(3000);
		//release PWRKEY
		HAL_GPIO_WritePin(SIM_PWR_GPIO_Port, SIM_PWR_Pin, GPIO_PIN_RESET);
		HAL_Delay(5000);
		HAL_Delay(5000);
		HAL_Delay(5000);
		HAL_Delay(5000);
	}
	else //SIM not response
	{
		/* turn on or off power*/
		//pull down PWRKEY
		HAL_GPIO_WritePin(SIM_PWR_GPIO_Port, SIM_PWR_Pin, GPIO_PIN_SET);
		//wait at least 2.5s
		HAL_Delay(3000);
		//release PWRKEY
		HAL_GPIO_WritePin(SIM_PWR_GPIO_Port, SIM_PWR_Pin, GPIO_PIN_RESET);
		HAL_Delay(5000);
		HAL_Delay(5000);
		HAL_Delay(5000);
		HAL_Delay(5000);
		Sim_exitSLEEPMode();
		Sim_checkOK();
		HAL_Delay(1000);
		if(Sim_checkOK() == RET_OK) //SIM ON
		{
			__NOP();
		}
		else //SIM OFF
		{
			/* turn on power*/
			//pull down PWRKEY
			HAL_GPIO_WritePin(SIM_PWR_GPIO_Port, SIM_PWR_Pin, GPIO_PIN_SET);
			//wait at least 2.5s
			HAL_Delay(3000);
			//release PWRKEY
			HAL_GPIO_WritePin(SIM_PWR_GPIO_Port, SIM_PWR_Pin, GPIO_PIN_RESET);
			HAL_Delay(5000);
			HAL_Delay(5000);
			HAL_Delay(5000);
			HAL_Delay(5000);
		}
	}
}

void Sim_restartControl(void)
{
	bool isResetSystem = false;
	char Sim_PhoneNumb[15] = {0};
	STATUS m_ret;
	m_ret = Sim_checkResponseWith("+CMTI:", 3, 5000);
	__NOP();
	if(m_ret == RET_OK)
	{
		char Sim_Cmd[100] = {0};
		Sim_exitSLEEPMode();
		for(uint8_t i = 1; i < 11; i++)
		{
			sprintf(Sim_Cmd,"AT+CMGR=%d\r",i);
			//Doc noi dung tin nhan
			Sim_send(Sim_Cmd, strlen(Sim_Cmd));
			m_ret = Sim_checkResponseWith("RESET", 3, 3000);
			char* tok = NULL;
			tok = strtok((char*)Sim_Rxdata,"\"");
			if(tok != NULL)
			{
				while(tok != NULL)
				{
					tok = strtok(NULL,"\"");
					if(strstr(tok,"+84") != NULL)
					{
						memset(Sim_PhoneNumb,0,strlen(Sim_PhoneNumb));
						strcpy(Sim_PhoneNumb,tok);
					}
					else if(strstr(tok,"RESET") != NULL)
					{
						Sim_sendMess(Sim_PhoneNumb, "Reset he thong thanh cong");
						isResetSystem = true;
						break; //break while
					}
				}
				if(isResetSystem == true)
				{
					break; //break for
				}
			}
		}
		Sim_send("AT+CMGD=1,4\r",strlen("AT+CMGD=1,4\r"));
		m_ret = Sim_checkResponseWith("OK", 2, 5000);
		__NOP();
		if(isResetSystem == true)
		{
			NVIC_SystemReset();
		}
	}
}

void Sim_sendMess(char* phonenumber, char* content)
{
	char Sim_Cmd1[40] = {0};
	sprintf(Sim_Cmd1,"AT+CMGS=\"%s\"\r",phonenumber);
	char Sim_Cmd2[40] = {0};
	sprintf(Sim_Cmd2,"%s\x1A",content);
	Sim_send(Sim_Cmd1, strlen(Sim_Cmd1));
	if(Sim_checkResponseWith(">",2,5000) == RET_OK)
	{
		Sim_send(Sim_Cmd2, strlen(Sim_Cmd2));
	}
}

bool RTC_initAlarm(uint8_t hours, uint8_t minutes, uint8_t seconds)
{
	minutes = (minutes/RTC_ALARM)*RTC_ALARM + RTC_ALARM;
	if(minutes > 59)
	{
		if(hours+1 > 23)
		{
			hours = (hours+1)%24;
		}
		else hours = hours+1;
	}
	else
	{
		hours = hours;
	}
	minutes = minutes%60;
	seconds = seconds%60;
	userAlarm.AlarmTime.Hours = hours;
	userAlarm.AlarmTime.Minutes = minutes;
	userAlarm.AlarmTime.Seconds = 0;
	if (HAL_RTC_SetAlarm_IT(&hrtc, &userAlarm, RTC_FORMAT_BIN) != HAL_OK)
	{
		return false;
	}
	return true;
}

void RTC_updateUserTime(void)
{
	bool isCorrectTime = false;
	RTC_TimeTypeDef m_Time = currentTime;
	RTC_DateTypeDef m_Date = currentDate;
	TimeStamp.year -= 2000;
	TimeStamp.hour += 7;
	if(TimeStamp.year < 99)
	{
		if((TimeStamp.mon > 0) && (TimeStamp.mon < 13))
		{
			if((TimeStamp.date > 0) && (TimeStamp.date < 32))
			{
				if((TimeStamp.hour > 6) && (TimeStamp.hour < 31)) //7->30
				{
					if(TimeStamp.min < 60)
					{
						if(TimeStamp.sec < 60)
						{
							isCorrectTime = true;
						}
					}
				}
			}
		}
	}
	if(isCorrectTime)
	{
		//cap nhat ngay thang cho DateToUpdate
		m_Date.Date = TimeStamp.date;
		m_Date.Month = TimeStamp.mon;
		m_Date.Year = TimeStamp.year;
		if(TimeStamp.hour > 23)
		{
			TimeStamp.hour = TimeStamp.hour - 24;
			RTC_updateUserDate(&m_Date);
		}
		else
		{
			HAL_RTC_SetDate(&hrtc, &m_Date, RTC_FORMAT_BIN);
		}
		m_Time.Hours = TimeStamp.hour;
		m_Time.Minutes = TimeStamp.min;
		m_Time.Seconds = TimeStamp.sec;
		HAL_RTC_SetTime(&hrtc, &m_Time, RTC_FORMAT_BIN);
		HAL_RTC_SetDate(&hrtc, &m_Date, RTC_FORMAT_BIN);
		RTC_initAlarm(m_Time.Hours, m_Time.Minutes, 0);
	}
}

void RTC_updateUserDate(RTC_DateTypeDef* datetime)
{
	if ((datetime->Month == 1U) || (datetime->Month == 3U) || (datetime->Month == 5U) || (datetime->Month == 7U) || \
        (datetime->Month == 8U) || (datetime->Month == 10U) || (datetime->Month == 12U))
	{
		if (datetime->Date < 31U)
		{
			datetime->Date++;
		}
		/* Date structure member: day = 31 */
		else
		{
			if (datetime->Month != 12U)
			{
				datetime->Month++;
				datetime->Date = 1U;
			}
			/* Date structure member: day = 31 & month =12 */
			else
			{
				datetime->Month = 1U;
				datetime->Date = 1U;
				datetime->Year++;
			}
		}
	}
	else if ((datetime->Month == 4U) || (datetime->Month == 6U) || (datetime->Month == 9U) || (datetime->Month == 11U))
	{
		if (datetime->Date < 30U)
		{
			datetime->Date++;
		}
		/* Date structure member: day = 30 */
		else
		{
			datetime->Month++;
			datetime->Date = 1U;
		}
	}
	else if (datetime->Month == 2U)
	{
		if (datetime->Date < 28U)
		{
			datetime->Date++;
		}
		else if (datetime->Date == 28U)
		{
			/* Leap year */
			if (RTC_isLeapYear(datetime->Year))
			{
				datetime->Date++;
			}
			else
			{
				datetime->Month++;
				datetime->Date = 1U;
			}
		}
		else if (datetime->Date == 29U)
		{
			datetime->Month++;
			datetime->Date = 1U;
		}
	}
	HAL_RTC_SetDate(&hrtc, datetime, RTC_FORMAT_BIN);
}

bool RTC_isLeapYear(uint16_t y)
{
  if((y + 2000) % 4 != 0)
  {
    return false;
  }
  else if((y + 2000) % 100 != 0)
  {
    return true;
  }
  else if((y + 2000) % 400 != 0)
  {
    return false;
  }
  else return true;
}

void Flash_init(void)
{
	Flash_Unlock();
	/* Flash init */
	if(Flash_ReadIntType(WR_ADDR) == 0xFFFFFFFF)
	{
		Flash_WriteIntType(WR_ADDR, WRITE_DATA_ADDR, FLASH_TYPEPROGRAM_WORD);
	}
	if(Flash_ReadIntType(RD_ADDR) == 0xFFFFFFFF)
	{
		Flash_WriteIntType(RD_ADDR, READ_DATA_ADDR, FLASH_TYPEPROGRAM_WORD);
	}
	if(Flash_ReadIntType(PG_ADDR) == 0xFFFFFFFF)
	{
		Flash_WriteIntType(PG_ADDR, PAGE_ADDR, FLASH_TYPEPROGRAM_WORD);
	}
	WRITE_DATA_ADDR = Flash_ReadIntType(WR_ADDR);
	READ_DATA_ADDR = Flash_ReadIntType(RD_ADDR);
	PAGE_ADDR = Flash_ReadIntType(PG_ADDR);
	if(Flash_ReadIntType(MODE_RTC_ADDR) == 0xFFFFFFFF)
	{
		Flash_WriteIntType(MODE_RTC_ADDR, RTC_ALARM, FLASH_TYPEPROGRAM_WORD);
	}
	Flash_Lock();
	RTC_ALARM = Flash_ReadIntType(MODE_RTC_ADDR);
	RTC_initAlarm(userAlarm.AlarmTime.Hours,userAlarm.AlarmTime.Minutes,0);
}

void Flash_writeData(const char* host, const char* url, const char* data)
{
	memset(Flash_DataToWrite,0,strlen(Flash_DataToWrite));
	if((host != NULL) && (url != NULL))
	{
		sprintf(Flash_DataToWrite,"%s|%s|%s",host,url,data);
	}
	else
	{
		if(strstr(host,Host1) != NULL)
		{
			sprintf(Flash_DataToWrite,"%s||1",data);
		}
		else
		{
			sprintf(Flash_DataToWrite,"%s||2",data);
		}
	}
	Flash_Unlock();
	Flash_WriteDataLen = strlen(Flash_DataToWrite);
	if((WRITE_DATA_ADDR + Flash_WriteDataLen*2) >= PAGE_ADDR)
	{
		if(PAGE_ADDR == MAX_PAGE_ADDR)
		{
			PAGE_ADDR = MIN_PAGE_ADDR;
			WRITE_DATA_ADDR = MIN_DATA_ADDR;
			Flash_Erase(WRITE_DATA_ADDR);
		}
		else
		{
			PAGE_ADDR += 0x800;
		}
		if(READ_DATA_ADDR > WRITE_DATA_ADDR)
		{
			READ_DATA_ADDR = PAGE_ADDR + 0x10 - 0x800;
		}
		Flash_Unlock();
		Flash_Erase(PAGE_ADDR);
	}
	Flash_WriteCharType(WRITE_DATA_ADDR, Flash_DataToWrite, FLASH_TYPEPROGRAM_HALFWORD);
	WRITE_DATA_ADDR += Flash_WriteDataLen*2+2;
	Flash_Erase(WR_ADDR);
	//Luu PAGE_ADDR, WRITE_DATA_ADDR, READ_DATA_ADDR vao bo nho Flash
	Flash_WriteIntType(RD_ADDR, READ_DATA_ADDR, FLASH_TYPEPROGRAM_WORD);
	Flash_WriteIntType(WR_ADDR, WRITE_DATA_ADDR, FLASH_TYPEPROGRAM_WORD);
	Flash_WriteIntType(PG_ADDR, PAGE_ADDR, FLASH_TYPEPROGRAM_WORD);
	Flash_Lock();
}

void Flash_extractData(char* data)
{
	memset(Flash_Host,0,strlen(Flash_Host));
	memset(Flash_URL,0,strlen(Flash_URL));
	memset(Flash_Data,0,strlen(Flash_Data));
	if(strstr(data,"||") == NULL)
	{
		char* token;
		token = strtok(data,"|");
		strcpy(Flash_Host,token);
		token = strtok(NULL,"|");
		strcpy(Flash_URL,token);
		token = strtok(NULL,"|");
		strcpy(Flash_Data,token);
	}
	else
	{
		char* token;
		token = strtok(data,"|");
		strcpy(Flash_Data,token);
		token = strtok(NULL,"|");
		token = strtok(NULL,"|");
		if(atoi(token) == 1)
		{
			strcpy(Flash_Host,Host1);
			strcpy(Flash_URL,URL1);
		}
		else
		{
			strcpy(Flash_Host,Host2);
			strcpy(Flash_URL,URL2);
		}
	}
}

float RS485_readUltrasonicSensor(uint8_t Modbus_Addr)
{
	// Change address 01 - 02	: 01 10 00 19 00 02 40 00 00 00 08 C3
	// Read data				: 02 03 00 01 00 01 D5 F9
	// Response					:	02 03 04 40 3F AF 58 90 F5 -> 40 3F AF 58 is data type float
	uint8_t ReceivedBuff[10] ={0};
	union u {
		uint8_t c[4];
		float f;
	} value;
	int32_t rawValue;
	RS485Query_t m_RS485Query=
	{
		.slaveAddress = Modbus_Addr,
		.mbFunction 	= Read_HoldingRegister,
		.regAddress 	= 0x01,
		.regCount		= 0x01
	};
	for(uint8_t j=0;j<3;j++)
	{
		RS485_transmit(m_RS485Query);
		if(HAL_UART_Receive(&huart3,(uint8_t*)ReceivedBuff, 9, 1000) == HAL_OK)
		{
			RS485Data_t UltrasonicSensor;
			if(RS485_analysis(&UltrasonicSensor, m_RS485Query, (uint8_t*)ReceivedBuff, 9) == 1)
			{
				__NOP();
				rawValue = (((((int32_t)UltrasonicSensor.dataReg[0]))<<16)|UltrasonicSensor.dataReg[1]);
				value.c[0] = (uint8_t)((rawValue>>0)&0xFF);
				value.c[1] = (uint8_t)((rawValue>>8)&0xFF);
				value.c[2] = (uint8_t)((rawValue>>16)&0xFF);
				value.c[3] = (uint8_t)((rawValue>>24)&0xFF);
//				sensorValue = (float)rawValue;
				return value.f;
			}
			else
			{
				__NOP();
			}
		}
		else
		{
			__NOP();
		}
		HAL_Delay(200);
	}
	return -32767;
}

// don vi met
float RS485_readLiquidLevelTransmitter(uint8_t Modbus_Addr)
{
	#if (IWDOG == 1)
	HAL_IWDG_Refresh(&hiwdg);
	#endif
	uint8_t ReceivedBuff[10] ={0};
	uint16_t sensorValue=0;
	RS485Query_t m_RS485Query=
	{
		.slaveAddress = Modbus_Addr,
		.mbFunction 	= Read_HoldingRegister,
		.regAddress 	= 0x04,
		.regCount		= 0x01
	};
	for(uint8_t j=0;j<3;j++)
	{
		RS485_transmit(m_RS485Query);
		if(HAL_UART_Receive(&huart3,(uint8_t*)ReceivedBuff, 7, 1000) == HAL_OK)
		{
			RS485Data_t LiquidLevelTransmitter;
			if(RS485_analysis(&LiquidLevelTransmitter, m_RS485Query, (uint8_t*)ReceivedBuff, 7) == 1)
			{
				sensorValue = LiquidLevelTransmitter.dataReg[0];
				HAL_Delay(200);
				return (float)(sensorValue)/100;
			}
			else
			{
				__NOP();
			}
		}
		else
		{
			__NOP();
		}
		HAL_Delay(200);
	}
	return -32767;
}

float Sensor_getADCValue(uint8_t channel)
{
	HAL_ADC_Start_DMA(&hadc2, (uint32_t*)Sensor_ADCval, 2);
	HAL_Delay(50);
	// Lay NSAMPLE mau
	for(uint8_t i=0; i<NSAMPLE; i++)
	{
		ADC_ArrayVal[i] = Sensor_ADCval[channel];
		HAL_Delay(2);
	}
	//Sap xep theo gia tri tang dan
	insertionSort(ADC_ArrayVal, NSAMPLE);
	// Tinh trung binh gia tri khoang giua
	ADC_Count = ADC_Avr = 0;
	for(uint8_t i = NSAMPLE/4+1; i < NSAMPLE*3/4+1; i++)
	{
		ADC_Avr += ADC_ArrayVal[i];
		ADC_Count++;
	}
	ADC_Avr /= ADC_Count;
	Sensor_Current = (ADC_Avr*VOLPOWER/4095)*10;
	ADC_Count = ADC_Avr = 0;
	for(uint8_t i=0; i<NSAMPLE; i++)
	{
		ADC_ArrayVal[i] = 0;
	}
	HAL_ADC_Stop_DMA(&hadc2);
	HAL_Delay(10);
	if(channel == 0)
	{
		Sensor_CalibCurrent = -0.00008*Sensor_Current*Sensor_Current + \
													1.0024*Sensor_Current + 0.0137;
	}
	else if(channel == 1)
	{
		Sensor_CalibCurrent = -0.0001*Sensor_Current*Sensor_Current + \
													1.0013*Sensor_Current + 0.0066;
	}
	if((int)Sensor_CalibCurrent != 0) return Sensor_CalibCurrent;
	return 0.0;
}

float ADC_map(float x, float in_min, float in_max, float out_min, float out_max)
{
	return (x - in_min) * (out_max - out_min) / (in_max - in_min) + out_min;
}

void PWR_ctrlPwrSensor(Pwr_State status)
{
	HAL_GPIO_WritePin(CTR_PWR_SS_GPIO_Port, CTR_PWR_SS_Pin, status? GPIO_PIN_SET : GPIO_PIN_RESET);
	HAL_Delay(2000);
}

void PWR_getPwrSupply(uint8_t channel)
{
	HAL_ADC_Start_DMA(&hadc4, (uint32_t*) ADC_value, 2);
	HAL_Delay(1);
	for(uint8_t i=0; i<NSAMPLE; i++)
	{
		ADC_ArrayVal[i] = ADC_value[channel];
		HAL_Delay(2);
	}
	//Sap xep theo gia tri tang dan
	insertionSort(ADC_ArrayVal, NSAMPLE);
	// Tinh trung binh gia tri khoang giua
	ADC_Count = ADC_Avr = 0;
	for(uint8_t i = NSAMPLE/4+1; i < NSAMPLE*3/4+1; i++)
	{
		ADC_Avr += ADC_ArrayVal[i];
		ADC_Count++;
	}
	ADC_Avr /= ADC_Count;
	Voltage = CALCULATE_VIN(ADC_Avr);
	for(uint8_t i=0; i<NSAMPLE; i++)
	{
		ADC_ArrayVal[i] = 0;
	}
	ADC_Count = ADC_Avr = 0;
	HAL_ADC_Stop_DMA(&hadc4);
	HAL_Delay(10);
}

void insertionSort(uint16_t arr[], int n)
{
	int i, key, j;
	for (i = 1; i < n; i++)
	{
		key = arr[i];
		j = i - 1;
		while (j >= 0 && arr[j] > key) {
				arr[j + 1] = arr[j];
				j = j - 1;
		}
		arr[j + 1] = key;
	}
}

void insertionSort_2(float arr[], int n)
{
	int i, j;
	float key;
	for (i = 1; i < n; i++)
	{
		key = arr[i];
		j = i - 1;
		while (j >= 0 && arr[j] > key) {
				arr[j + 1] = arr[j];
				j = j - 1;
		}
		arr[j + 1] = key;
	}
}

/* USER CODE END 4 */

void Error_Handler(void)
{
  __disable_irq();
  while (1)
  {
  }
}

/************************ (C) COPYRIGHT STMicroelectronics *****END OF FILE****/
